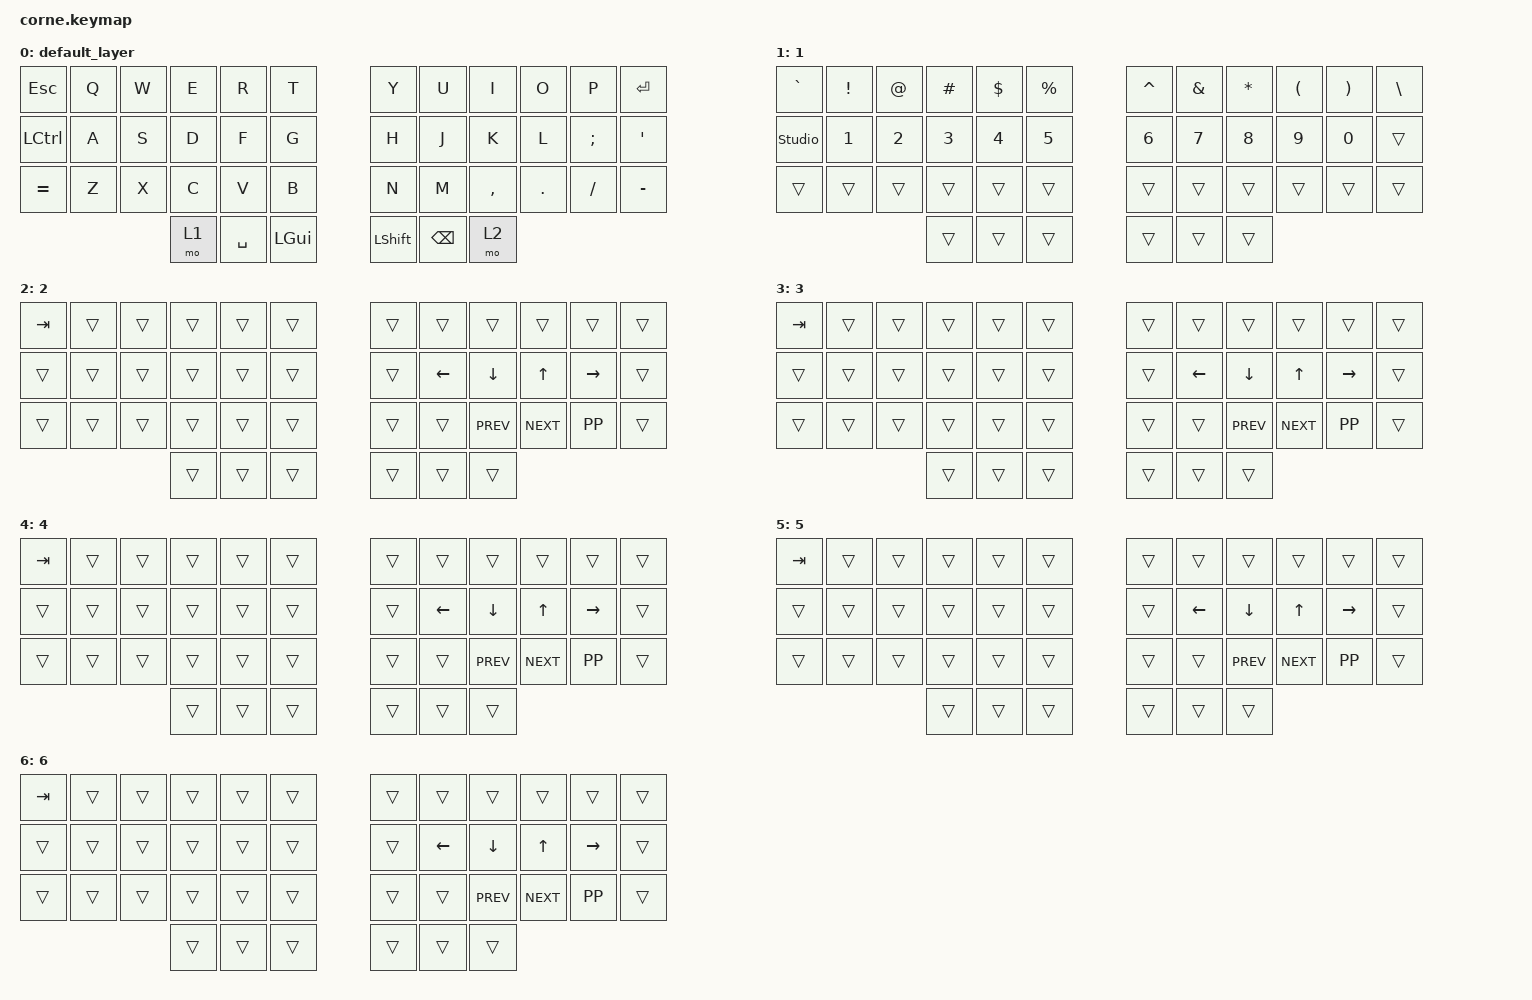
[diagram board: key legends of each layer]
/*
 * Copyright (c) 2020 The ZMK Contributors
 *
 * SPDX-License-Identifier: MIT
 */

#include <behaviors.dtsi>
#include <dt-bindings/zmk/keys.h>
#include <dt-bindings/zmk/bt.h>

/ {
        keymap {
                compatible = "zmk,keymap";

                default_layer {
                        bindings = <
   &kp ESC   &kp Q &kp W &kp E &kp R &kp T          &kp Y &kp U  &kp I     &kp O   &kp P &kp ENTER
   &kp LCTRL &kp A &kp S &kp D &kp F &kp G          &kp H &kp J  &kp K     &kp L   &kp SEMI    &kp SQT
   &kp EQUAL &kp Z &kp X &kp C &kp V &kp B          &kp N &kp M  &kp COMMA &kp DOT &kp FSLH &kp MINUS
                   &mo 1 &kp SPACE &kp LGUI         &kp LSHFT &kp BSPC &mo 2
                        >;
                };
                1 {
                        bindings = <
   &kp GRAVE &kp EXCL &kp AT &kp HASH &kp DLLR &kp PRCNT        &kp CARET &kp AMPS &kp ASTRK &kp LPAR &kp RPAR &kp BSLH
   &studio_unlock    &kp N1   &kp N2 &kp N3   &kp N4   &kp N5           &kp N6    &kp N7   &kp N8    &kp N9   &kp N0   &trans
   &trans    &trans   &trans &trans   &trans   &trans           &trans    &trans   &trans    &trans   &trans   &trans
                             &trans   &trans   &trans           &trans    &trans   &trans
                        >;
                };

                2 {
                        bindings = <
   &kp TAB &trans &trans &trans &trans &trans        &trans &trans   &trans     &trans     &trans    &trans 
   &trans  &trans &trans &trans &trans &trans        &trans &kp LEFT &kp DOWN   &kp UP     &kp RIGHT &trans 
   &trans  &trans &trans &trans &trans &trans        &trans &trans   &kp C_PREV &kp C_NEXT &kp K_PP  &trans 
                         &trans &trans &trans        &trans &trans   &trans
                        >;
                };
                3 {
                        bindings = <
   &kp TAB &trans &trans &trans &trans &trans        &trans &trans   &trans     &trans     &trans    &trans 
   &trans  &trans &trans &trans &trans &trans        &trans &kp LEFT &kp DOWN   &kp UP     &kp RIGHT &trans 
   &trans  &trans &trans &trans &trans &trans        &trans &trans   &kp C_PREV &kp C_NEXT &kp K_PP  &trans 
                         &trans &trans &trans        &trans &trans   &trans
                        >;
                };
                4 {
                        bindings = <
   &kp TAB &trans &trans &trans &trans &trans        &trans &trans   &trans     &trans     &trans    &trans 
   &trans  &trans &trans &trans &trans &trans        &trans &kp LEFT &kp DOWN   &kp UP     &kp RIGHT &trans 
   &trans  &trans &trans &trans &trans &trans        &trans &trans   &kp C_PREV &kp C_NEXT &kp K_PP  &trans 
                         &trans &trans &trans        &trans &trans   &trans
                        >;
                };
                5 {
                        bindings = <
   &kp TAB &trans &trans &trans &trans &trans        &trans &trans   &trans     &trans     &trans    &trans 
   &trans  &trans &trans &trans &trans &trans        &trans &kp LEFT &kp DOWN   &kp UP     &kp RIGHT &trans 
   &trans  &trans &trans &trans &trans &trans        &trans &trans   &kp C_PREV &kp C_NEXT &kp K_PP  &trans 
                         &trans &trans &trans        &trans &trans   &trans
                        >;
                };
                6 {
                        bindings = <
   &kp TAB &trans &trans &trans &trans &trans        &trans &trans   &trans     &trans     &trans    &trans 
   &trans  &trans &trans &trans &trans &trans        &trans &kp LEFT &kp DOWN   &kp UP     &kp RIGHT &trans 
   &trans  &trans &trans &trans &trans &trans        &trans &trans   &kp C_PREV &kp C_NEXT &kp K_PP  &trans 
                         &trans &trans &trans        &trans &trans   &trans
                        >;
                };
        };
};
